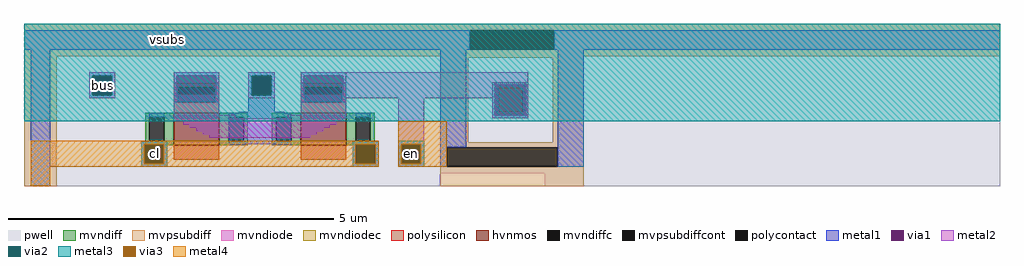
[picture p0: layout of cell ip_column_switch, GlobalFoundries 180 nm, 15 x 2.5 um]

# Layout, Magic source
magic
tech gf180mcuD
magscale 1 5
<< pwell >>
rect 0 180 1500 400
rect 0 150 640 180
rect 800 150 1500 180
<< mvpsubdiff >>
rect 0 390 1500 400
rect 0 360 685 390
rect 815 360 1500 390
rect 0 350 1500 360
rect 0 150 50 350
rect 640 210 680 350
rect 640 180 650 210
rect 820 180 860 350
rect 640 150 860 180
<< mvpsubdiffcont >>
rect 685 360 815 390
rect 650 180 820 210
<< metal1 >>
rect 0 360 685 390
rect 815 360 1500 390
rect 10 150 40 360
rect 100 320 140 325
rect 100 290 105 320
rect 135 290 140 320
rect 100 285 140 290
rect 230 320 300 325
rect 230 290 235 320
rect 295 290 300 320
rect 230 280 300 290
rect 345 320 385 325
rect 345 290 350 320
rect 380 290 385 320
rect 345 265 385 290
rect 425 320 495 325
rect 425 290 430 320
rect 490 290 495 320
rect 425 280 495 290
rect 330 260 400 265
rect 180 215 220 220
rect 315 215 410 260
rect 505 215 545 220
rect 180 185 185 215
rect 215 185 220 215
rect 180 180 220 185
rect 505 185 510 215
rect 540 185 545 215
rect 505 180 545 185
rect 640 210 680 360
rect 720 305 775 310
rect 720 260 725 305
rect 770 260 775 305
rect 720 255 775 260
rect 640 180 650 210
rect 820 180 860 360
<< via1 >>
rect 105 290 135 320
rect 235 290 295 320
rect 350 290 380 320
rect 430 290 490 320
rect 185 185 215 215
rect 510 185 540 215
rect 725 260 770 305
<< metal2 >>
rect 100 320 140 325
rect 100 290 105 320
rect 135 290 140 320
rect 100 285 140 290
rect 230 320 300 325
rect 230 290 235 320
rect 295 290 300 320
rect 230 260 300 290
rect 345 320 385 325
rect 345 290 350 320
rect 380 290 385 320
rect 345 285 385 290
rect 425 320 775 325
rect 425 290 430 320
rect 490 305 775 320
rect 490 290 725 305
rect 425 285 725 290
rect 425 260 495 285
rect 230 255 325 260
rect 405 255 495 260
rect 230 250 490 255
rect 245 245 480 250
rect 255 240 470 245
rect 265 235 460 240
rect 275 230 450 235
rect 285 225 440 230
rect 180 215 220 220
rect 180 185 185 215
rect 215 185 220 215
rect 180 180 220 185
rect 505 215 545 220
rect 505 185 510 215
rect 540 185 545 215
rect 505 180 545 185
rect 575 215 615 285
rect 720 260 725 285
rect 770 260 775 305
rect 720 255 775 260
rect 575 185 580 215
rect 610 185 615 215
rect 575 180 615 185
<< via2 >>
rect 105 290 135 320
rect 350 290 380 320
rect 185 185 215 215
rect 510 185 540 215
rect 580 185 610 215
<< metal3 >>
rect 0 320 1500 400
rect 0 290 105 320
rect 135 290 350 320
rect 380 290 1500 320
rect 0 250 1500 290
rect 180 215 220 220
rect 180 185 185 215
rect 215 185 220 215
rect 180 180 220 185
rect 505 215 545 220
rect 505 185 510 215
rect 540 185 545 215
rect 505 180 545 185
rect 575 215 615 220
rect 575 185 580 215
rect 610 185 615 215
rect 575 180 615 185
<< via3 >>
rect 185 185 215 215
rect 510 185 540 215
rect 580 185 610 215
<< metal4 >>
rect 10 215 545 220
rect 10 185 185 215
rect 215 185 510 215
rect 540 185 545 215
rect 10 180 545 185
rect 575 215 650 250
rect 575 185 580 215
rect 610 185 650 215
rect 575 180 650 185
rect 10 150 40 180
use diode_nd2ps_06v0_E2JMKK  diode_nd2ps_06v0_E2JMKK_0
transform 1 0 748 0 1 283
box -113 -113 113 113
use nfet_06v0_LWL8XW  M1
transform 1 0 265 0 1 250
box -95 -75 95 75
use nfet_06v0_LWL8XW  M2
transform 1 0 460 0 1 250
box -95 -75 95 75
<< labels >>
flabel metal3 100 285 140 325 0 FreeSans 160 0 0 0 bus
port 7 nsew
flabel metal1 180 360 260 390 0 FreeSans 160 0 0 0 vsubs
port 5 nsew
flabel metal4 575 180 615 220 0 FreeSans 240 0 0 0 en
port 11 nsew
flabel metal4 180 180 220 220 0 FreeSans 160 0 0 0 cl
port 13 nsew
<< end >>

# cell diode_nd2ps_06v0_E2JMKK: kit device diode_nd2ps_06v0, w 0.5 l 0.5 area 250.0m peri 2.0 nx 1 ny 1 dummy 0 lmin 0.45 wmin 0.45 class diode elc 0 erc 0 etc 0 ebc 0 doverlap 0 full_metal 0 compatible {diode_nd2ps_03v3 diode_nd2ps_06v0}

# cell nfet_06v0_LWL8XW: kit device nfet_06v0, w 0.5 l 0.7 m 1 nf 1 diffcov 100 polycov 100 guard 0 glc 0 grc 0 gtc 0 gbc 0 tbcov 100 rlcov 100 topc 1 botc 0 poverlap 0 doverlap 1 lmin 0.7 wmin 0.3 class mosfet full_metal 0 compatible {nfet_03v3 nfet_05v0 nfet_06v0 nfet_06v0_nvt}
